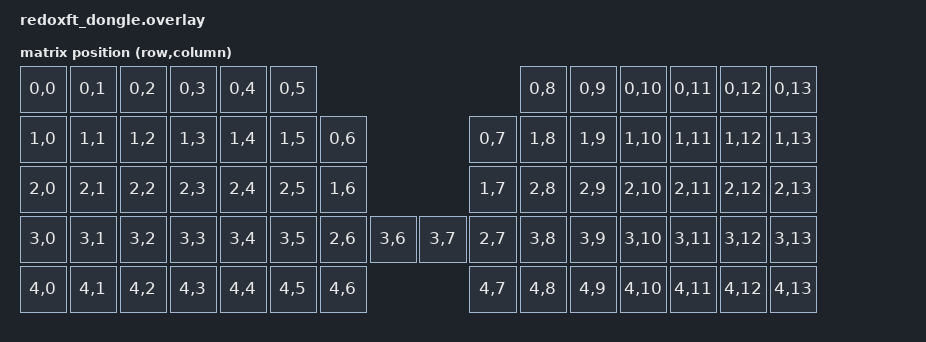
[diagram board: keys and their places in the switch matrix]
/*
 * Redox FT Dongle — GC9A01 240×240 okrągły TFT
 * nice!nano v2 (nRF52840), SPI1
 * nice!nano v2 (nRF52840) — FalbaTech Redox FT Dongle
 *
 *  GC9A01 SCL  -> P0.10
 *  GC9A01 SDA  -> P0.09
 *  GC9A01 RES  -> P0.17
 *  GC9A01 DC   -> P0.22
 *  GC9A01 CS   -> P0.20
 *  GC9A01 BL   -> 3V3
 */

#include <zephyr/dt-bindings/display/panel.h>
#include <dt-bindings/zmk/matrix_transform.h>
#include <dt-bindings/led/led.h>
#include "redoxft-layouts.dtsi"

/*
 * Dongle: brak fizycznego kscan — mock_kscan.
 * ZMK Studio wymaga transform na physical layout.
 */
&redoxft_physical_layout {
    transform = <&default_transform>;
};

&pinctrl {
    spi1_default: spi1_default {
        group1 {
            psels = <NRF_PSEL(SPIM_SCK, 0, 10)>,
                    <NRF_PSEL(SPIM_MOSI, 0, 9)>;
        };
    };

    spi1_sleep: spi1_sleep {
        group1 {
            psels = <NRF_PSEL(SPIM_SCK, 0, 10)>,
                    <NRF_PSEL(SPIM_MOSI, 0, 9)>;
            low-power-enable;
        };
    };

    /* SPI3 — wirtualny LED strip dla rgb_ug (P0.06 niepodłączony na dongle) */
    spi3_default: spi3_default {
        group1 {
            psels = <NRF_PSEL(SPIM_MOSI, 0, 6)>;
        };
    };
    spi3_sleep: spi3_sleep {
        group1 {
            psels = <NRF_PSEL(SPIM_MOSI, 0, 6)>;
            low-power-enable;
        };
    };
};

&spi1 {
    compatible = "nordic,nrf-spim";
    status = "okay";

    pinctrl-0 = <&spi1_default>;
    pinctrl-1 = <&spi1_sleep>;
    pinctrl-names = "default", "sleep";

    cs-gpios = <&gpio0 20 GPIO_ACTIVE_LOW>;
};

/* Wirtualny LED strip — 1 pozycja, P0.06 na dongle niepodłączony.
 * Potrzebny do kompilacji rgb_ug; ZMK synchronizuje stan RGB do połówek przez BLE. */
&spi3 {
    compatible = "nordic,nrf-spim";
    status = "okay";
    pinctrl-0 = <&spi3_default>;
    pinctrl-1 = <&spi3_sleep>;
    pinctrl-names = "default", "sleep";

    led_strip: ws2812@0 {
        compatible = "worldsemi,ws2812-spi";
        reg = <0>;
        spi-max-frequency = <4000000>;
        spi-one-frame = <0x70>;
        spi-zero-frame = <0x40>;
        chain-length = <1>;
        color-mapping = <LED_COLOR_ID_GREEN
                         LED_COLOR_ID_RED
                         LED_COLOR_ID_BLUE>;
    };
};

/ {
    chosen {
        zmk,kscan = &mock_kscan;
        zephyr,display = &gc9a01;
        zmk,physical-layout = &redoxft_physical_layout;
        zmk,underglow = &led_strip;
    };

    /*
     * Mapowanie matrycy dla ZMK Studio (dongle nie skanuje bezpośrednio)
     */
    default_transform: keymap_transform_0 {
        compatible = "zmk,matrix-transform";
        columns = <14>;
        rows = <5>;
        map = <
RC(0,0) RC(0,1) RC(0,2) RC(0,3) RC(0,4) RC(0,5)                                   RC(0,8) RC(0,9)  RC(0,10) RC(0,11) RC(0,12) RC(0,13)
RC(1,0) RC(1,1) RC(1,2) RC(1,3) RC(1,4) RC(1,5) RC(0,6)               RC(0,7) RC(1,8) RC(1,9)  RC(1,10) RC(1,11) RC(1,12) RC(1,13)
RC(2,0) RC(2,1) RC(2,2) RC(2,3) RC(2,4) RC(2,5) RC(1,6)               RC(1,7) RC(2,8) RC(2,9)  RC(2,10) RC(2,11) RC(2,12) RC(2,13)
RC(3,0) RC(3,1) RC(3,2) RC(3,3) RC(3,4) RC(3,5) RC(2,6) RC(3,6)   RC(3,7) RC(2,7) RC(3,8) RC(3,9)  RC(3,10) RC(3,11) RC(3,12) RC(3,13)
RC(4,0) RC(4,1) RC(4,2) RC(4,3)      RC(4,4)    RC(4,5) RC(4,6)   RC(4,7) RC(4,8)     RC(4,9)    RC(4,10) RC(4,11) RC(4,12) RC(4,13)
        >;
    };

    mock_kscan: mock_kscan_0 {
        compatible = "zmk,kscan-mock";
        columns = <0>;
        rows = <0>;
        events = <0>;
    };

    mipi_dbi {
        compatible = "zephyr,mipi-dbi-spi";
        spi-dev = <&spi1>;

        dc-gpios = <&gpio0 22 GPIO_ACTIVE_HIGH>;
        reset-gpios = <&gpio0 17 GPIO_ACTIVE_LOW>;

        write-only;

        #address-cells = <1>;
        #size-cells = <0>;

        gc9a01: gc9x01x@0 {
            compatible = "galaxycore,gc9x01x";
            reg = <0>;

            mipi-max-frequency = <8000000>;
            mipi-mode = "MIPI_DBI_MODE_SPI_4WIRE";

            width = <240>;
            height = <240>;
            pixel-format = <PANEL_PIXEL_FORMAT_RGB_565>;

            display-inversion;
        };
    };
};
